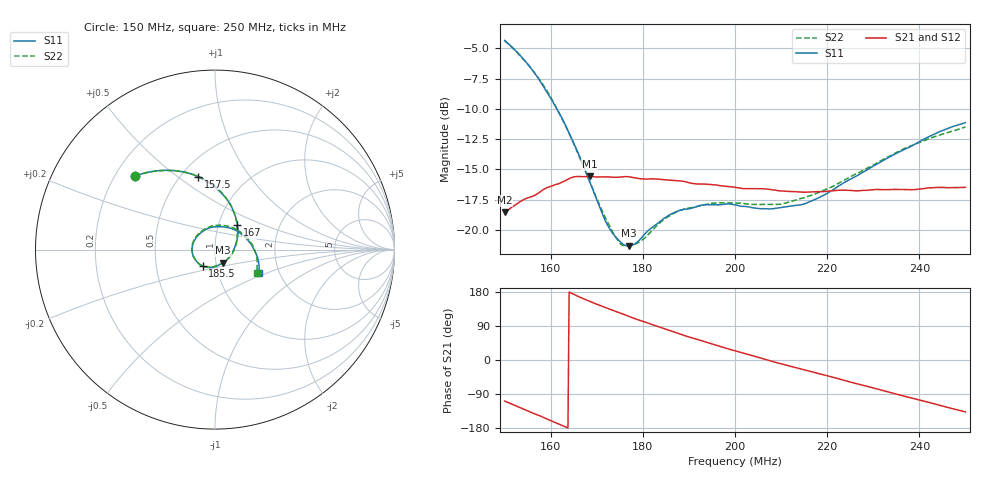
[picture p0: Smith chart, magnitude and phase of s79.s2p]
# Hz S MA R 50
! Planar, Obzor-304, 08125003, 3.51/02
! Äàòà: 26.03.2019 11:31:02
! ×àñòîòà  S11: Mag/Ang (F2)  S21: Mag/Ang (F2)  S12: Mag/Ang (F2)  S22: Mag/Ang (F2)
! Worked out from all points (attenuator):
!   401 points, 150 MHz to 250 MHz, reference 50 ohm
!   highest |S21| = -15.59 dB at 168.5 MHz (marker M1); lowest = -18.6 dB at 150 MHz (marker M2)
!   lowest |S11| = -21.3 dB at 177 MHz (marker M3), VSWR 1.19, Z = 54.1 - j7.97 ohm
!   |S11| at or under -10 dB: 161.3 MHz to end of sweep
!   |S22| runs from -21.4 to -4.4 dB; largest |S21 - S12| = 0.00085
!   S11 on the Smith chart (normalised r, x): 150 MHz: 0.28, +0.36; 157.5 MHz: 0.61, +0.60; 167 MHz: 1.23, +0.35; 185.5 MHz: 0.86, -0.16; 250 MHz: 1.56, -0.45
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1.5e8  0.6058 137.6  0.118 -108.4  0.1181 -108.1  0.6051 137.2
1.5375e8  0.5162 121.1  0.132 -127.9  0.1323 -127.8  0.5142 121.1
1.575e8  0.4169 103.0  0.1425 -146.5  0.1427 -146.5  0.4194 103.2
1.62e8  0.3001 79.6  0.1559 -170.2  0.1562 -170.0  0.2997 79.1
1.64e8  0.2508 67.7  0.1627 179.3  0.1632 179.4  0.2502 67.5
1.6675e8  0.1917 49.8  0.1658 163.6  0.1662 163.7  0.1891 49.8
1.67e8  0.1867 47.9  0.1658 162.3  0.1662 162.4  0.1842 48.1
1.685e8  0.1579 36.1  0.1662 154.6  0.1666 154.7  0.1575 37.4
1.73e8  0.09953 -7.8  0.1653 133.1  0.1656 133.2  0.1017 -7.8
1.75e8  0.08953 -34.0  0.1651 124.3  0.1654 124.4  0.08802 -32.4
1.77e8  0.08589 -58.3  0.1656 114.9  0.1659 114.9  0.08561 -56.3
1.8e8  0.0941 -87.7  0.1622 102.0  0.1624 102.1  0.09121 -86.7
1.835e8  0.1074 -114.3  0.1618 87.3  0.1619 87.4  0.106 -112.8
1.855e8  0.1144 -126.6  0.1606 79.1  0.1607 79.3  0.1132 -125.7
1.93e8  0.1266 -164.3  0.1546 50.0  0.1548 50.2  0.1263 -164.3
2e8  0.1268 162.2  0.1498 24.1  0.1502 24.3  0.1291 162.5
2.0775e8  0.122 123.9  0.1465 -2.6  0.1471 -2.5  0.1271 123.7
2.1675e8  0.132 75.3  0.1434 -31.2  0.1439 -31.1  0.1392 77.8
2.245e8  0.1599 40.6  0.1456 -56.5  0.1459 -56.5  0.1634 43.9
2.335e8  0.2 10.5  0.1466 -85.1  0.1466 -85.2  0.2014 12.5
2.42e8  0.2422 -10.9  0.149 -111.6  0.1489 -111.5  0.2374 -11.3
2.5e8  0.2772 -28.7  0.1498 -136.9  0.1499 -136.7  0.2661 -29.1
